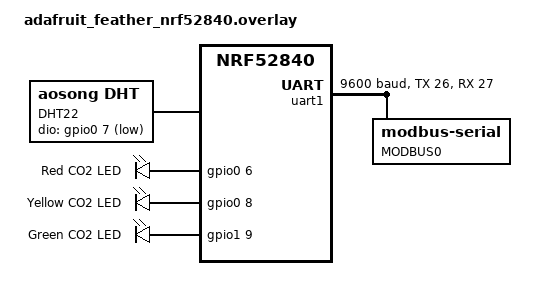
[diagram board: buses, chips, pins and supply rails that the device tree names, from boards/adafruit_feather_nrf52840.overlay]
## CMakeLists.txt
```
#
# Copyright (c) 2021 Finomnis
#
# SPDX-License-Identifier: MIT
#

cmake_minimum_required(VERSION 3.20.0)

set(CMAKE_EXPORT_COMPILE_COMMANDS ON CACHE INTERNAL "")
set(ZEPHYR_EXTRA_MODULES "${CMAKE_SOURCE_DIR}/modules")
find_package(Zephyr REQUIRED HINTS $ENV{ZEPHYR_BASE})

project("AirQualitySensor")

# NORDIC SDK APP START
target_sources(app PRIVATE
    src/main.c
)
# NORDIC SDK APP END
```

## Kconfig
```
menu "Air Quality Sensor"

rsource "subsys/Kconfig"

endmenu

source "Kconfig.zephyr"
```

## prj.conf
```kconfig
#
# Copyright (c) 2020 Nordic Semiconductor ASA
#
# SPDX-License-Identifier: LicenseRef-Nordic-5-Clause
#

# GPIO & LEDs
CONFIG_GPIO=y
CONFIG_LED=y
CONFIG_LED_GPIO=y

# Logging/Console backend
CONFIG_LOG=y
CONFIG_SHELL=y
#CONFIG_SHELL_BACKEND_SERIAL=n
#CONFIG_SHELL_BACKEND_RTT=y
#CONFIG_USE_SEGGER_RTT=y

# Heap & Main Thread
CONFIG_HEAP_MEM_POOL_SIZE=8192
CONFIG_MAIN_THREAD_PRIORITY=6

# Enable DK LED and Buttons library
CONFIG_DK_LIBRARY=y

# This example requires more workqueue stack
CONFIG_SYSTEM_WORKQUEUE_STACK_SIZE=8192

# Zigbee
CONFIG_ZIGBEE=y
CONFIG_ZIGBEE_CHANNEL_SELECTION_MODE_MULTI=y
CONFIG_ZIGBEE_APP_UTILS=y
CONFIG_ZIGBEE_ROLE_END_DEVICE=y
CONFIG_SUBSYS_ZIGBEE_DEVICE=y

# Enable nRF ECB driver
CONFIG_CRYPTO=y
CONFIG_CRYPTO_NRF_ECB=y
CONFIG_CRYPTO_INIT_PRIORITY=80

# Cryptocell is not supported through CSPRNG driver API: NCSDK-4813
CONFIG_ENTROPY_CC3XX=n

# Enable API for powering down unused RAM parts
# CONFIG_RAM_POWER_DOWN_LIBRARY=y

# Networking
CONFIG_NET_IPV6_MLD=n
CONFIG_NET_IPV6_NBR_CACHE=n
CONFIG_NET_IPV6_RA_RDNSS=n
CONFIG_NET_IP_ADDR_CHECK=n
CONFIG_NET_UDP=n

# DHT22 sensor
CONFIG_SENSOR=y
CONFIG_DHT=y
CONFIG_SUBSYS_DHT22=y

# Senseair S8 sensor
CONFIG_SENSEAIR_S8=y
CONFIG_MODBUS=y
CONFIG_MODBUS_SERIAL=y
CONFIG_MODBUS_ROLE_CLIENT=y
CONFIG_SUBSYS_SENSEAIR_S8=y

# CO2 status LEDs
CONFIG_SUBSYS_CO2_LEDS=y

# Display
CONFIG_SUBSYS_DISPLAY_DOGM132W_5=y
```

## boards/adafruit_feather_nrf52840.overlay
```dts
/*
 * Copyright (c) 2021 Martin Stumpf
 *
 * SPDX-License-Identifier: Apache-2.0
 */

/ {
    chosen {
        zephyr,entropy = &rng;
        senseair,s8-bus = &s8modbus;
    };

    dht22 {
        compatible = "aosong,dht";
        status = "okay";
        label = "DHT22";
        dio-gpios = <&gpio0 7 (GPIO_PULL_UP | GPIO_ACTIVE_LOW)>;
        dht22;
    };

    senseair_s8 {
        compatible = "senseair,s8";
        status = "okay";
        label = "SENSEAIR_S8";
    };

    leds_ui {
        compatible = "gpio-leds";
        label = "UI LEDs";
        status = "okay";

        led_co2_red: led_ui_0 {
            gpios = <&gpio0 6 0>;
            label = "Red CO2 LED";
        };
        led_co2_yellow: led_ui_1 {
            gpios = <&gpio0 8 0>;
            label = "Yellow CO2 LED";
        };
        led_co2_green: led_ui_2 {
            gpios = <&gpio1 9 0>;
            label = "Green CO2 LED";
        };
    };
};

&uart1 {
    status = "okay";
    tx-pin = <26>;
    rx-pin = <27>;
    current-speed = <9600>;

    s8modbus: modbus0 {
        compatible = "zephyr,modbus-serial";
        status = "okay";
        label = "MODBUS0";
    };
};
```

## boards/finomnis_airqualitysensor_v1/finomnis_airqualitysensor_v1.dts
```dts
/*
 * Copyright (c) 2021 Martin Stumpf
 *
 * SPDX-License-Identifier: Apache-2.0
 */

/dts-v1/;
#include <nordic/nrf52840_qiaa.dtsi>

/ {
	model = "Finomnis AirQualitySensor v1";
	compatible = "finomnis,airqualitysensor-v1";

	chosen {
		zephyr,console = &uart0;
		zephyr,shell-uart = &uart0;
		zephyr,uart-mcumgr = &uart0;
		zephyr,bt-mon-uart = &uart0;
		zephyr,bt-c2h-uart = &uart0;
		zephyr,sram = &sram0;
		zephyr,flash = &flash0;
		zephyr,code-partition = &slot0_partition;
	};

	leds {
		compatible = "gpio-leds";
		led0: led_0 {
			gpios = <&gpio0 30 GPIO_ACTIVE_HIGH>;
			label = "User LED 0";
		};
		led1: led_1 {
			gpios = <&gpio0 31 GPIO_ACTIVE_HIGH>;
			label = "User LED 1";
		};
	};

	/* These aliases are provided for compatibility with samples */
	aliases {
		led0 = &led0;
		led1 = &led1;
	};
};

&adc {
	status = "okay";
};

&gpiote {
	status = "okay";
};

&gpio0 {
	status = "okay";
};

&gpio1 {
	status = "okay";
};

&uart0 {
	compatible = "nordic,nrf-uarte";
	status = "okay";
	current-speed = <115200>;
	tx-pin = <43>;
	rx-pin = <42>;
};

&uart1 {
    status = "okay";
    tx-pin = <5>;
    rx-pin = <4>;
    current-speed = <9600>;

    s8modbus: modbus0 {
        compatible = "zephyr,modbus-serial";
        status = "okay";
        label = "MODBUS0";
    };
};

&flash0 {

	partitions {
		compatible = "fixed-partitions";
		#address-cells = <1>;
		#size-cells = <1>;

		boot_partition: partition@0 {
			label = "mcuboot";
			reg = <0x000000000 0x0000C000>;
		};
		slot0_partition: partition@c000 {
			label = "image-0";
			reg = <0x0000C000 0x00067000>;
		};
		slot1_partition: partition@73000 {
			label = "image-1";
			reg = <0x00073000 0x00067000>;
		};
		scratch_partition: partition@da000 {
			label = "image-scratch";
			reg = <0x000da000 0x0001e000>;
		};

		/*
		 * The flash starting at 0x000f8000 and ending at
		 * 0x000fffff is reserved for use by the application.
		 */

		/*
		 * Storage partition will be used by FCB/LittleFS/NVS
		 * if enabled.
		 */
		storage_partition: partition@f8000 {
			label = "storage";
			reg = <0x000f8000 0x00008000>;
		};
	};
};

&usbd {
	compatible = "nordic,nrf-usbd";
	status = "okay";
};
```

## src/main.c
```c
/*
 * Copyright (c) 2020 Nordic Semiconductor ASA
 *
 * SPDX-License-Identifier: LicenseRef-Nordic-5-Clause
 */

/** @file
 *
 * @brief Simple Zigbee light bulb implementation.
 */

#include <zephyr/types.h>
#include <zephyr.h>
#include <logging/log.h>
#include <dk_buttons_and_leds.h>
#include <drivers/sensor.h>

#if CONFIG_SUBSYS_ZIGBEE_DEVICE
#include "zigbee_device.h"
#endif

#if CONFIG_SUBSYS_DHT22
#include "dht22.h"
#endif

#if CONFIG_SUBSYS_SENSEAIR_S8
#include "senseair_s8.h"
#endif

#if CONFIG_SUBSYS_CO2_LEDS
#include "co2_leds.h"
#endif

LOG_MODULE_REGISTER(main);

#if CONFIG_SUBSYS_DHT22
static void handle_temperature_value(struct sensor_value value)
{
    LOG_INF("Temperature: %d.%06d Celsius", value.val1, value.val2);
    if (value.val2 < 0)
    {
        LOG_WRN("Temperature failed.");
    }
}
static void handle_humidity_value(struct sensor_value value)
{
    LOG_INF("Humidity: %d.%06d %%", value.val1, value.val2);
    if (value.val2 < 0)
    {
        LOG_WRN("Humidity failed.");
    }
}
#endif

#if CONFIG_SUBSYS_SENSEAIR_S8
static void handle_co2_value(struct sensor_value value, bool error)
{
    LOG_INF("CO2: %d.%06d", value.val1, value.val2);
    if (error)
    {
        LOG_WRN("CO2 failed.");
    }
}
#endif

void main(void)
{
    LOG_INF("Finomnis's Air Quality Sensor");

    int err = dk_leds_init();
    if (err)
    {
        LOG_ERR("Cannot init LEDs (err: %d)", err);
    }

#if CONFIG_SUBSYS_ZIGBEE_DEVICE
    // Start zigbee device
    start_zigbee_device();
#endif

#if CONFIG_SUBSYS_DHT22
    // Register sensor value handlers
    dht22_register_temperature_handler(handle_temperature_value);
    dht22_register_humidity_handler(handle_humidity_value);
#if CONFIG_SUBSYS_ZIGBEE_DEVICE
    // Forward dht22 measurements to zigbee
    dht22_register_temperature_handler(publish_temperature);
    dht22_register_humidity_handler(publish_humidity);
#endif
#endif

#if CONFIG_SUBSYS_SENSEAIR_S8
    // Register sensor value handlers
    senseair_s8_register_co2_handler(handle_co2_value);
#if CONFIG_SUBSYS_ZIGBEE_DEVICE
    // Forward measurements to zigbee
    senseair_s8_register_co2_handler(publish_co2);
#endif
#if CONFIG_SUBSYS_CO2_LEDS
    // Forward co2 measurements to CO2 status LEDs
    senseair_s8_register_co2_handler(co2_leds_set_co2_level);
#endif
#endif

    while (1)
    {
        dk_set_led_off(DK_LED1);
        k_sleep(K_MSEC(1000));
        dk_set_led_on(DK_LED1);
        k_sleep(K_FOREVER);
    }
}
```

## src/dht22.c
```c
#include "dht22.h"

#include <zephyr.h>
#include <logging/log.h>
#include <drivers/sensor.h>

#include <autoconf.h>

LOG_MODULE_REGISTER(dht22);

// TODO: move configuration to KConfig file
#define DHT22_STACK_SIZE 500
#define DHT22_PRIORITY -3
#define DHT22_SAMPLING_RATE_MS 2000

static void dht22_entry_point(void *, void *, void *);

K_THREAD_STACK_DEFINE(dht22_stack_area, DHT22_STACK_SIZE);
static struct k_thread dht22_thread_data;

void start_dht22_sampling()
{
    k_tid_t dht22_tid = k_thread_create(&dht22_thread_data, dht22_stack_area,
                                        K_THREAD_STACK_SIZEOF(dht22_stack_area),
                                        dht22_entry_point,
                                        NULL, NULL, NULL,
                                        DHT22_PRIORITY, 0, K_FOREVER);
    k_thread_name_set(dht22_tid, "dht22");
    k_thread_start(dht22_tid);
}

static void dht22_entry_point(void *u1, void *u2, void *u3)
{
    // Initialize DHT22 Temp+Humidity sensor
    const char *const label = DT_LABEL(DT_INST(0, aosong_dht));
    const struct device *dht22 = device_get_binding(label);
    if (!dht22)
    {
        LOG_ERR("Failed to find sensor %s!", label);
        return;
    }

    struct sensor_value temperature;
    struct sensor_value humidity;

    while (1)
    {
        k_sleep(K_MSEC(DHT22_SAMPLING_RATE_MS));

        int rc = sensor_sample_fetch(dht22);

        if (rc != 0)
        {
            LOG_WRN("Sensor fetch failed: %d", rc);
            continue;
        }

        rc = sensor_channel_get(dht22, SENSOR_CHAN_AMBIENT_TEMP,
                                &temperature);
        if (rc == 0)
        {
            rc = sensor_channel_get(dht22, SENSOR_CHAN_HUMIDITY,
                                    &humidity);
        }
        if (rc != 0)
        {
            LOG_WRN("get failed: %d", rc);
            continue;
        }

        LOG_INF("%d.%d Celsius ; %d %d %% Humidity",
                temperature.val1, temperature.val2,
                humidity.val1, humidity.val2);
    }
}
```

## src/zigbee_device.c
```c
#include "zigbee_device.h"

#include "zb_airquality_sensor/device.h"

#include <zboss_api.h>
#include <zboss_api_addons.h>
#include <zb_mem_config_med.h>
#include <zigbee/zigbee_app_utils.h>
#include <zigbee/zigbee_error_handler.h>
#include <zb_nrf_platform.h>

#include <dk_buttons_and_leds.h>
#include <logging/log.h>

#define ZIGBEE_NETWORK_STATE_LED DK_LED2

LOG_MODULE_REGISTER(zigbee_device);

// Signal handler
void zboss_signal_handler(zb_bufid_t bufid)
{
    zb_zdo_app_signal_hdr_t *sig_hndler = NULL;
    zb_zdo_app_signal_type_t sig = zb_get_app_signal(bufid, &sig_hndler);
    zb_ret_t status = ZB_GET_APP_SIGNAL_STATUS(bufid);

    /* Update network status LED. */
    zigbee_led_status_update(bufid, ZIGBEE_NETWORK_STATE_LED);

    switch (sig)
    {
    case ZB_BDB_SIGNAL_DEVICE_REBOOT:
    /* fall-through */
    case ZB_BDB_SIGNAL_STEERING:
        /* Call default signal handler. */
        ZB_ERROR_CHECK(zigbee_default_signal_handler(bufid));
        if (status == RET_OK)
        {
            // /* Check the light device address. */
            // if (bulb_ctx.short_addr == 0xFFFF)
            // {
            //     k_timer_start(&bulb_ctx.find_alarm,
            //                   MATCH_DESC_REQ_START_DELAY,
            //                   MATCH_DESC_REQ_TIMEOUT);
            // }
        }
        break;
    default:
        /* Call default signal handler. */
        ZB_ERROR_CHECK(zigbee_default_signal_handler(bufid));
        break;
    }

    if (bufid)
    {
        zb_buf_free(bufid);
    }
}

void airquality_sensor_device_interface_cb(zb_uint8_t param)
{
    zb_zcl_device_callback_param_t *device_cb_param =
        ZB_BUF_GET_PARAM(param, zb_zcl_device_callback_param_t);

    device_cb_param->status = RET_OK;
    switch (device_cb_param->device_cb_id)
    {
    case ZB_ZCL_SET_ATTR_VALUE_CB_ID:
        /*if (device_cb_param->cb_param.set_attr_value_param.cluster_id == ZB_ZCL_CLUSTER_ID_ON_OFF &&
            device_cb_param->cb_param.set_attr_value_param.attr_id == ZB_ZCL_ATTR_ON_OFF_ON_OFF_ID)
        {
            if (device_cb_param->cb_param.set_attr_value_param.values.data8)
            {
#ifdef ZB_USE_BUTTONS
                zb_osif_led_on(0);
#endif
            }
            else
            {
#ifdef ZB_USE_BUTTONS
                zb_osif_led_off(0);
#endif
            }
        }*/
        break;
    default:
        break;
    }
}

void initialize_zigbee_device()
{
    /* Configure Zigbee */
    zigbee_erase_persistent_storage(false);
    zb_set_ed_timeout(ED_AGING_TIMEOUT_64MIN);
    zb_set_keepalive_timeout(ZB_MILLISECONDS_TO_BEACON_INTERVAL(3000));

    /* Register Zigbee event callback */
    ZB_ZCL_REGISTER_DEVICE_CB(airquality_sensor_device_interface_cb);

    /* Register Zigbee contexts */
    ZB_AF_REGISTER_DEVICE_CTX(&airquality_sensor_device_ctx);

    /* Start Zigbee default thread. */
    zigbee_enable();
}

void publish_temperature(struct sensor_value value)
{
    if (value.val2 < 0)
    {
        zb_airquality_sensor_publish_temperature(ZB_ZCL_ATTR_TEMP_MEASUREMENT_VALUE_UNKNOWN);
        return;
    }

    int64_t converted_value = ((int64_t)value.val1) * 100 + value.val2 / 10000;
    if (converted_value > ZB_ZCL_ATTR_TEMP_MEASUREMENT_MAX_VALUE_MAX_VALUE ||
        converted_value < ZB_ZCL_ATTR_TEMP_MEASUREMENT_MIN_VALUE_MIN_VALUE)
    {
        zb_airquality_sensor_publish_temperature(ZB_ZCL_ATTR_TEMP_MEASUREMENT_VALUE_UNKNOWN);
        return;
    }

    zb_airquality_sensor_publish_temperature((zb_int16_t)converted_value);
}

void publish_humidity(struct sensor_value value)
{
    if (value.val2 < 0)
    {
        zb_airquality_sensor_publish_humidity(ZB_ZCL_ATTR_REL_HUMIDITY_MEASUREMENT_VALUE_UNKNOWN);
        return;
    }

    int64_t converted_value = ((int64_t)value.val1) * 100 + value.val2 / 10000;
    if (converted_value > ZB_ZCL_ATTR_REL_HUMIDITY_MEASUREMENT_MAX_VALUE_MAX_VALUE ||
        converted_value < ZB_ZCL_ATTR_REL_HUMIDITY_MEASUREMENT_MIN_VALUE_MIN_VALUE)
    {
        zb_airquality_sensor_publish_humidity(ZB_ZCL_ATTR_REL_HUMIDITY_MEASUREMENT_VALUE_UNKNOWN);
        return;
    }

    zb_airquality_sensor_publish_humidity((zb_uint16_t)converted_value);
}
```

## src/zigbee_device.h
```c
#pragma once

#include "zb_airquality_sensor/device.h"

void initialize_zigbee_device();
```
